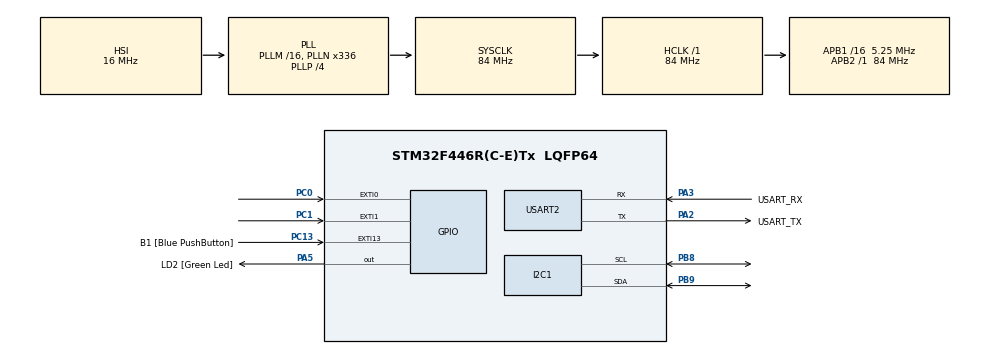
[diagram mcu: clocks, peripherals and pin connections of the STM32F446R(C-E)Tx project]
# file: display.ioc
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Mcu.Family=STM32F4
Mcu.Name=STM32F446R(C-E)Tx
Mcu.Package=LQFP64
NVIC.EXTI0_IRQn=true\:0\:0\:false\:false\:true\:true\:true\:true
NVIC.EXTI15_10_IRQn=true\:0\:0\:false\:false\:true\:true\:true\:true
NVIC.EXTI1_IRQn=true\:0\:0\:false\:false\:true\:true\:true\:true
NVIC.PriorityGroup=NVIC_PRIORITYGROUP_0
NVIC.TIM6_DAC_IRQn=true\:0\:0\:false\:false\:true\:true\:true\:true
NVIC.USART2_IRQn=true\:0\:0\:false\:false\:true\:true\:true\:true
PA13.GPIO_Label=TMS
PA13.Mode=Serial_Wire
PA13.Signal=SYS_JTMS-SWDIO
PA14.GPIO_Label=TCK
PA14.Mode=Serial_Wire
PA14.Signal=SYS_JTCK-SWCLK
PA2.GPIO_Label=USART_TX
PA2.Mode=Asynchronous
PA2.Signal=USART2_TX
PA3.GPIO_Label=USART_RX
PA3.Mode=Asynchronous
PA3.Signal=USART2_RX
PA5.GPIO_Label=LD2 [Green Led]
PA5.Signal=GPIO_Output
PB3.GPIO_Label=SWO
PB3.Signal=SYS_JTDO-SWO
PB8.Mode=I2C
PB8.Signal=I2C1_SCL
PB9.Mode=I2C
PB9.Signal=I2C1_SDA
PC0.Signal=GPXTI0
PC1.Signal=GPXTI1
PC13.GPIO_Label=B1 [Blue PushButton]
PC13.GPIO_ModeDefaultEXTI=GPIO_MODE_IT_FALLING
PC13.Signal=GPXTI13
PC14-OSC32_IN.Mode=LSE-External-Oscillator
PC14-OSC32_IN.Signal=RCC_OSC32_IN
PC15-OSC32_OUT.Mode=LSE-External-Oscillator
PC15-OSC32_OUT.Signal=RCC_OSC32_OUT
PH0-OSC_IN.Mode=HSE-External-Oscillator
PH0-OSC_IN.Signal=RCC_OSC_IN
PH1-OSC_OUT.Mode=HSE-External-Oscillator
PH1-OSC_OUT.Signal=RCC_OSC_OUT
ProjectManager.HeapSize=0x200
ProjectManager.StackSize=0x400
ProjectManager.TargetToolchain=STM32CubeIDE
RCC.48MHZClocksFreq_Value=84000000
RCC.AHBFreq_Value=84000000
RCC.APB1CLKDivider=RCC_HCLK_DIV16
RCC.APB1Freq_Value=5250000
RCC.APB1TimFreq_Value=10500000
RCC.APB2Freq_Value=84000000
RCC.APB2TimFreq_Value=84000000
RCC.CortexFreq_Value=84000000
RCC.FLatency-AdvancedSettings=FLASH_LATENCY_2
RCC.HCLKFreq_Value=84000000
RCC.HSE_VALUE=8000000
RCC.HSI_VALUE=16000000
RCC.PLLN=336
RCC.PLLP=RCC_PLLP_DIV4
RCC.SYSCLKFreq_VALUE=84000000
RCC.SYSCLKSource=RCC_SYSCLKSOURCE_PLLCLK
RCC.USBFreq_Value=168000000
RCC.VCOOutputFreq_Value=336000000
TIM6.Period=11 - 1
TIM6.Prescaler=10000 - 1
USART2.VirtualMode=VM_ASYNC
VP_TIM6_VS_ClockSourceINT.Mode=Enable_Timer
board=NUCLEO-F446RE

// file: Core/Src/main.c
/* USER CODE BEGIN Header */
/**
  ******************************************************************************
  * @file           : main.c
  * @brief          : Main program body
  ******************************************************************************
  * @attention
  *
  * Copyright (c) 2022 STMicroelectronics.
  * All rights reserved.
  *
  * This software is licensed under terms that can be found in the LICENSE file
  * in the root directory of this software component.
  * If no LICENSE file comes with this software, it is provided AS-IS.
  *
  ******************************************************************************
  */
/* USER CODE END Header */
#include "main.h"

/* USER CODE BEGIN Includes */
#include <stdio.h>
#include <string.h>
#include "font_data.h"
#include "time.h"
#include "graphics.h"
/* USER CODE END Includes */

 I2C_HandleTypeDef hi2c1;

TIM_HandleTypeDef htim6;

UART_HandleTypeDef huart2;

void SystemClock_Config(void);
static void MX_GPIO_Init(void);
static void MX_USART2_UART_Init(void);
static void MX_I2C1_Init(void);
static void MX_TIM6_Init(void);
/* USER CODE BEGIN PFP */

float centi_seconds_elapsed;

extern set_option cur_option_to_change;

/* USER CODE END PFP */

/* USER CODE BEGIN 0 */

uint8_t buffer[1];

/* USER CODE END 0 */

int main(void)
{

  /* MCU Configuration--------------------------------------------------------*/

  /* Reset of all peripherals, Initializes the Flash interface and the Systick. */
  HAL_Init();

  /* Configure the system clock */
  SystemClock_Config();

  /* Initialize all configured peripherals */
  MX_GPIO_Init();
  MX_USART2_UART_Init();
  MX_I2C1_Init();
  MX_TIM6_Init();
  /* USER CODE BEGIN 2 */

  HAL_TIM_Base_Start_IT(&htim6);
  HAL_UART_Receive_IT(&huart2, buffer, sizeof(buffer));
  char buffer[20];
  sprintf(buffer, "test print\r\n");
  print_to_screen((unsigned char*)buffer);

  init_time();

  // figure out what is to do what returns HAL_BUSY
  HAL_StatusTypeDef ret = HAL_I2C_IsDeviceReady(&hi2c1, DISPLAY_I2C_ADDR << 1, 5, HAL_MAX_DELAY);
  if (ret != HAL_OK) {
	  unsigned char buffer[20];
	  sprintf((char*)buffer, "error occurred\r\n");
	  print_to_screen(buffer);
  } else {
	  unsigned char buffer[40];
	  sprintf((char*)buffer, "display module is ready\r\n");
	  print_to_screen(buffer);
  }

  init_display();

  /* USER CODE END 2 */

  /* Infinite loop */
  while (1)
  {

    /* USER CODE BEGIN 3 */

	  update_display_time();

	  clear_display();
	  if (cur_option_to_change != set_none) {
		  display_in_change_mode();
	  } else {
		  draw_date();
		  draw_time();
	  }
	  render_display();
  }
  /* USER CODE END 3 */
}

void SystemClock_Config(void)
{
  RCC_OscInitTypeDef RCC_OscInitStruct = {0};
  RCC_ClkInitTypeDef RCC_ClkInitStruct = {0};

  /** Configure the main internal regulator output voltage
  */
  __HAL_RCC_PWR_CLK_ENABLE();
  __HAL_PWR_VOLTAGESCALING_CONFIG(PWR_REGULATOR_VOLTAGE_SCALE3);

  /** Initializes the RCC Oscillators according to the specified parameters
  * in the RCC_OscInitTypeDef structure.
  */
  RCC_OscInitStruct.OscillatorType = RCC_OSCILLATORTYPE_HSI;
  RCC_OscInitStruct.HSIState = RCC_HSI_ON;
  RCC_OscInitStruct.HSICalibrationValue = RCC_HSICALIBRATION_DEFAULT;
  RCC_OscInitStruct.PLL.PLLState = RCC_PLL_ON;
  RCC_OscInitStruct.PLL.PLLSource = RCC_PLLSOURCE_HSI;
  RCC_OscInitStruct.PLL.PLLM = 16;
  RCC_OscInitStruct.PLL.PLLN = 336;
  RCC_OscInitStruct.PLL.PLLP = RCC_PLLP_DIV4;
  RCC_OscInitStruct.PLL.PLLQ = 2;
  RCC_OscInitStruct.PLL.PLLR = 2;
  if (HAL_RCC_OscConfig(&RCC_OscInitStruct) != HAL_OK)
  {
    Error_Handler();
  }

  /** Initializes the CPU, AHB and APB buses clocks
  */
  RCC_ClkInitStruct.ClockType = RCC_CLOCKTYPE_HCLK|RCC_CLOCKTYPE_SYSCLK
                              |RCC_CLOCKTYPE_PCLK1|RCC_CLOCKTYPE_PCLK2;
  RCC_ClkInitStruct.SYSCLKSource = RCC_SYSCLKSOURCE_PLLCLK;
  RCC_ClkInitStruct.AHBCLKDivider = RCC_SYSCLK_DIV1;
  RCC_ClkInitStruct.APB1CLKDivider = RCC_HCLK_DIV16;
  RCC_ClkInitStruct.APB2CLKDivider = RCC_HCLK_DIV1;

  if (HAL_RCC_ClockConfig(&RCC_ClkInitStruct, FLASH_LATENCY_2) != HAL_OK)
  {
    Error_Handler();
  }
}

static void MX_I2C1_Init(void)
{

  hi2c1.Instance = I2C1;
  hi2c1.Init.ClockSpeed = 100000;
  hi2c1.Init.DutyCycle = I2C_DUTYCYCLE_2;
  hi2c1.Init.OwnAddress1 = 0;
  hi2c1.Init.AddressingMode = I2C_ADDRESSINGMODE_7BIT;
  hi2c1.Init.DualAddressMode = I2C_DUALADDRESS_DISABLE;
  hi2c1.Init.OwnAddress2 = 0;
  hi2c1.Init.GeneralCallMode = I2C_GENERALCALL_DISABLE;
  hi2c1.Init.NoStretchMode = I2C_NOSTRETCH_DISABLE;
  if (HAL_I2C_Init(&hi2c1) != HAL_OK)
  {
    Error_Handler();
  }

}

static void MX_TIM6_Init(void)
{

  TIM_MasterConfigTypeDef sMasterConfig = {0};

  htim6.Instance = TIM6;
  htim6.Init.Prescaler = 10000 - 1;
  htim6.Init.CounterMode = TIM_COUNTERMODE_UP;
  htim6.Init.Period = 11 - 1;
  htim6.Init.AutoReloadPreload = TIM_AUTORELOAD_PRELOAD_DISABLE;
  if (HAL_TIM_Base_Init(&htim6) != HAL_OK)
  {
    Error_Handler();
  }
  sMasterConfig.MasterOutputTrigger = TIM_TRGO_RESET;
  sMasterConfig.MasterSlaveMode = TIM_MASTERSLAVEMODE_DISABLE;
  if (HAL_TIMEx_MasterConfigSynchronization(&htim6, &sMasterConfig) != HAL_OK)
  {
    Error_Handler();
  }

}

static void MX_USART2_UART_Init(void)
{

  huart2.Instance = USART2;
  huart2.Init.BaudRate = 115200;
  huart2.Init.WordLength = UART_WORDLENGTH_8B;
  huart2.Init.StopBits = UART_STOPBITS_1;
  huart2.Init.Parity = UART_PARITY_NONE;
  huart2.Init.Mode = UART_MODE_TX_RX;
  huart2.Init.HwFlowCtl = UART_HWCONTROL_NONE;
  huart2.Init.OverSampling = UART_OVERSAMPLING_16;
  if (HAL_UART_Init(&huart2) != HAL_OK)
  {
    Error_Handler();
  }

}

static void MX_GPIO_Init(void)
{
  GPIO_InitTypeDef GPIO_InitStruct = {0};

  /* GPIO Ports Clock Enable */
  __HAL_RCC_GPIOC_CLK_ENABLE();
  __HAL_RCC_GPIOH_CLK_ENABLE();
  __HAL_RCC_GPIOA_CLK_ENABLE();
  __HAL_RCC_GPIOB_CLK_ENABLE();

  /*Configure GPIO pin Output Level */
  HAL_GPIO_WritePin(LD2_GPIO_Port, LD2_Pin, GPIO_PIN_RESET);

  /*Configure GPIO pin : B1_Pin */
  GPIO_InitStruct.Pin = B1_Pin;
  GPIO_InitStruct.Mode = GPIO_MODE_IT_FALLING;
  GPIO_InitStruct.Pull = GPIO_NOPULL;
  HAL_GPIO_Init(B1_GPIO_Port, &GPIO_InitStruct);

  /*Configure GPIO pins : PC0 PC1 */
  GPIO_InitStruct.Pin = GPIO_PIN_0|GPIO_PIN_1;
  GPIO_InitStruct.Mode = GPIO_MODE_IT_RISING;
  GPIO_InitStruct.Pull = GPIO_NOPULL;
  HAL_GPIO_Init(GPIOC, &GPIO_InitStruct);

  /*Configure GPIO pin : LD2_Pin */
  GPIO_InitStruct.Pin = LD2_Pin;
  GPIO_InitStruct.Mode = GPIO_MODE_OUTPUT_PP;
  GPIO_InitStruct.Pull = GPIO_NOPULL;
  GPIO_InitStruct.Speed = GPIO_SPEED_FREQ_LOW;
  HAL_GPIO_Init(LD2_GPIO_Port, &GPIO_InitStruct);

  /* EXTI interrupt init*/
  HAL_NVIC_SetPriority(EXTI0_IRQn, 0, 0);
  HAL_NVIC_EnableIRQ(EXTI0_IRQn);

  HAL_NVIC_SetPriority(EXTI1_IRQn, 0, 0);
  HAL_NVIC_EnableIRQ(EXTI1_IRQn);

  HAL_NVIC_SetPriority(EXTI15_10_IRQn, 0, 0);
  HAL_NVIC_EnableIRQ(EXTI15_10_IRQn);

}

/* USER CODE BEGIN 4 */

void HAL_UART_RxCpltCallback(UART_HandleTypeDef * huart) {

//	clear_display();
//	uint8_t row = buffer[0] - '0';
//	if (row < 0 || row > 7) {
//		uint8_t str_buffer[50];
//		sprintf((char*)str_buffer, "row %c is invalid\r\n", buffer[0]);
//		print_to_screen(str_buffer);
//		HAL_UART_Receive_IT(&huart2, buffer, 1);
//		return;
//	}
//	for (int col = 0; col < DISPLAY_COLS; col++) {
//		for (int i = row * 8; i < (row + 1) * 8; i++) {
//			display_buffer[((i * DISPLAY_COLS) + col) / 8] = 0xff;
//		}
//	}
//	render_display();
//
//	HAL_UART_Receive_IT(&huart2, buffer, 1);
}

/* USER CODE END 4 */

void Error_Handler(void)
{
  __disable_irq();
  while (1)
  {
  }
}
